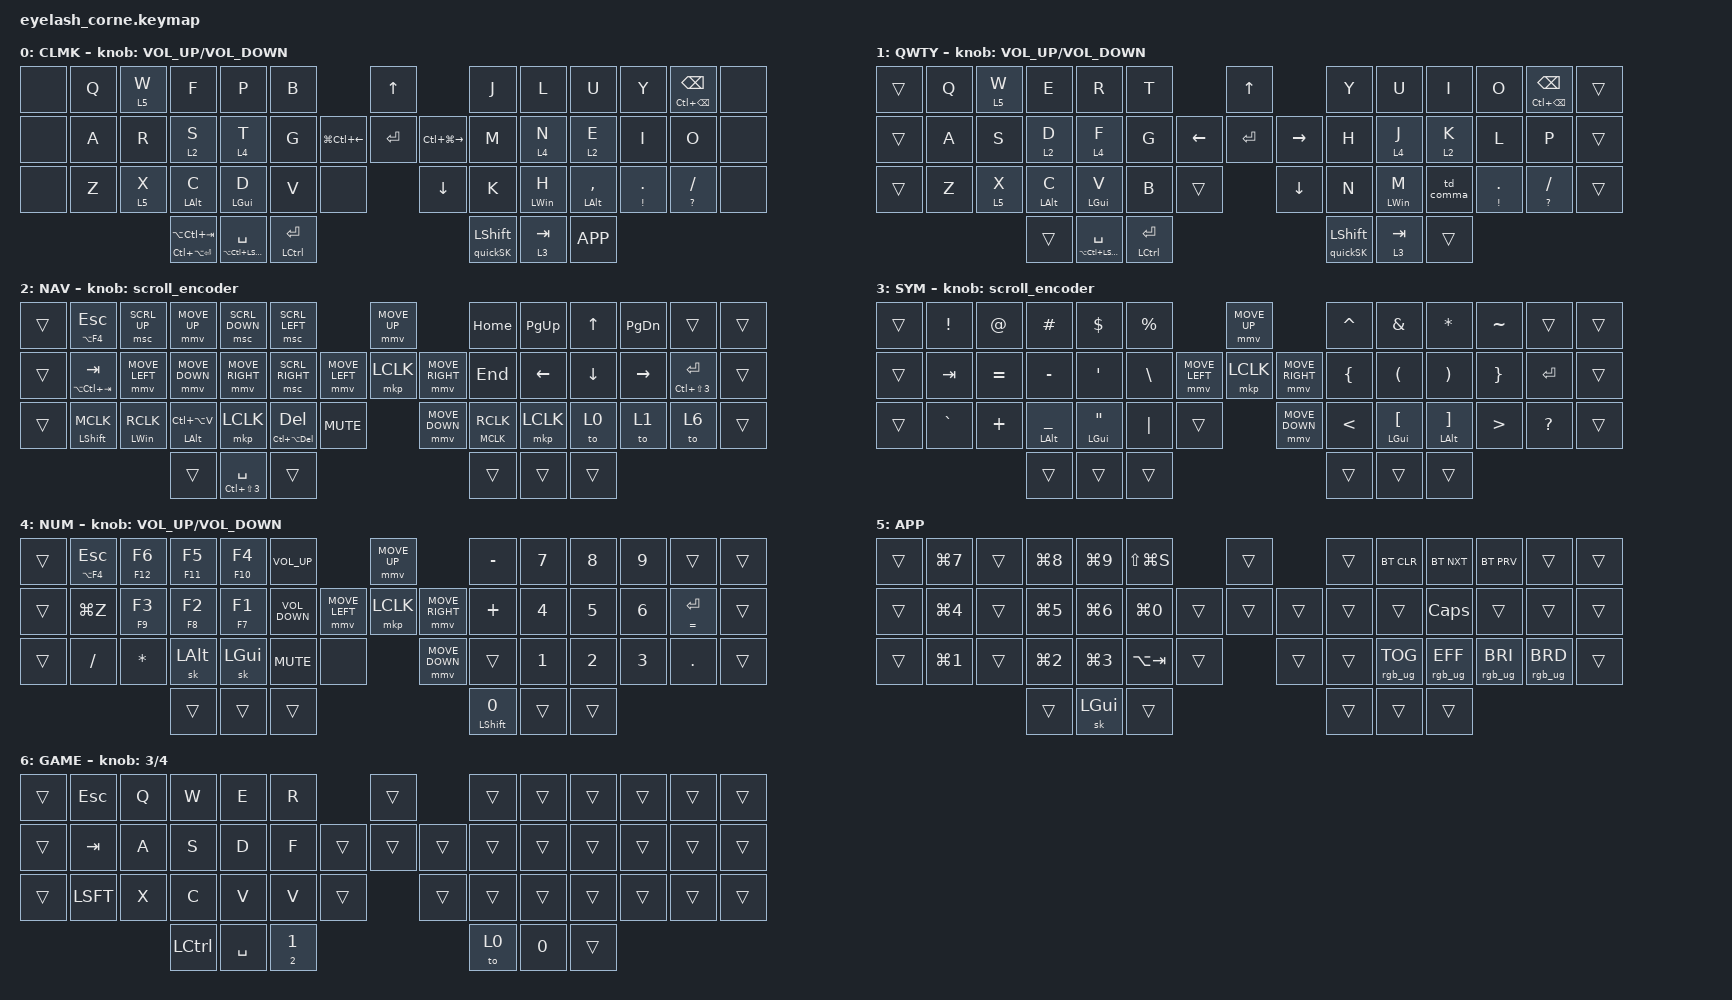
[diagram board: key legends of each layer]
#define ZMK_POINTING_DEFAULT_MOVE_VAL 1200  // 600
#define ZMK_POINTING_DEFAULT_SCRL_VAL 200   // 10

#include <input/processors.dtsi>
#include <zephyr/dt-bindings/input/input-event-codes.h>
#include <behaviors.dtsi>
#include <dt-bindings/zmk/bt.h>
#include <dt-bindings/zmk/keys.h>
#include <dt-bindings/zmk/pointing.h>
#include <dt-bindings/zmk/rgb.h>

&mmv_input_listener { input-processors = <&zip_xy_scaler 2 1>; };

&msc_input_listener { input-processors = <&zip_scroll_scaler 2 1>; };

&msc {
    acceleration-exponent = <1>;      // 0
    time-to-max-speed-ms = <100>;       // 300
    delay-ms = <0>;                   // 0
};

&mmv {
    time-to-max-speed-ms = <500>;
    acceleration-exponent = <1>;
    trigger-period-ms = <16>;
};

/ {
    behaviors {
        td0: td0 {
            compatible = "zmk,behavior-tap-dance";
            display-name = "Shift/Caps Lock Tap Dance";
            #binding-cells = <0>;
            bindings = <&kp LEFT_SHIFT>, <&kp CAPS>;
        };

        td_comma: td_comma {
            compatible = "zmk,behavior-tap-dance";
            label = "TD_COMMA";
            #binding-cells = <0>;
            bindings = <&ht LEFT_ALT COMMA>, <&kp MINUS>;

            tapping-term-ms = <220>;
        };

        ht: ht {
            compatible = "zmk,behavior-hold-tap";
            label = "HT";
            bindings = <&kp>, <&kp>;

            #binding-cells = <2>;
            flavor = "tap-preferred";
            tapping-term-ms = <220>;
        };

        LongHT: LongHT {
            compatible = "zmk,behavior-hold-tap";
            label = "LONGHT";
            bindings = <&kp>, <&kp>;

            #binding-cells = <2>;
            tapping-term-ms = <400>;
        };

        MouseHT: MouseHT {
            compatible = "zmk,behavior-hold-tap";
            label = "MOUSEHT";
            bindings = <&kp>, <&mkp>;

            #binding-cells = <2>;
            tapping-term-ms = <200>;
        };

        quickSK: quickSK {
            compatible = "zmk,behavior-sticky-key";
            label = "QUICKSK";
            bindings = <&kp>;
            #binding-cells = <1>;
            quick-release;
            release-after-ms = <1000>;
        };

        Mouse2HT: Mouse2HT {
            compatible = "zmk,behavior-hold-tap";
            label = "MOUSE2HT";
            bindings = <&mkp>, <&mkp>;

            #binding-cells = <2>;
            tapping-term-ms = <200>;
            flavor = "tap-preferred";
        };
    };

    rgb_encoder: rgb_encoder {
        compatible = "zmk,behavior-sensor-rotate";
        #sensor-binding-cells = <0>;
        bindings = <&rgb_ug RGB_BRI>, <&rgb_ug RGB_BRD>;
    };

    scroll_encoder: scroll_encoder {
        compatible = "zmk,behavior-sensor-rotate";
        #sensor-binding-cells = <0>;
        bindings = <&msc SCRL_DOWN>, <&msc SCRL_UP>;

        tap-ms = <100>;
    };

    combos {
        compatible = "zmk,combos";

        Back {
            bindings = <&kp LA(LEFT)>;
            key-positions = <2 15>;
        };

        Forward {
            bindings = <&kp LA(RIGHT)>;
            key-positions = <15 30>;
        };

        Del1 {
            bindings = <&kp DELETE>;
            key-positions = <7 8>;
        };

        Del2 {
            bindings = <&kp DELETE>;
            key-positions = <4 5>;
        };

        AltTab {
            bindings = <&kp LA(TAB)>;
            key-positions = <4 18>;
        };

        Mouse1 {
            bindings = <&mkp MB1>;
            key-positions = <26 40>;
        };

        Mouse2 {
            bindings = <&mkp MB2>;
            key-positions = <11 26>;
        };

        Mouse3 {
            bindings = <&mkp MB3>;
            key-positions = <40 39>;
        };

        SemiColon {
            bindings = <&kp SEMICOLON>;
            key-positions = <8 9>;
        };

        Colon {
            bindings = <&kp COLON>;
            key-positions = <9 10>;
        };

        Enter {
            bindings = <&kp ENTER>;
            key-positions = <18 33>;
        };

        QBALCMLinks {
            bindings = <&ALCMLinks>;
            key-positions = <1 5>;
        };

        Dash {
            bindings = <&kp MINUS>;
            key-positions = <38 39>;
        };

        AltTab2 {
            bindings = <&kp LA(LC(TAB))>;
            key-positions = <33 32>;
        };
    };

    macros {
        ALCMLinks: ALCMLinks {
            compatible = "zmk,behavior-macro";
            #binding-cells = <0>;
            bindings =
                <&kp LC(L)>,
                <&macro_wait_time 200>,
                <&kp LS(Z) &kp COLON &kp BSLH &kp LS(A) &kp LS(L) &kp LS(C) &kp LS(M) &kp SPACE &kp LS(L) &kp I &kp N &kp K &kp S>;

            label = "ALCMLINKS";
        };
    };

    keymap {
        compatible = "zmk,keymap";

        alpha1 {
            display-name = "CLMK";
            bindings = <
&none  &kp Q  &lt 5 W  &kp F                          &kp P                         &kp B                                       &kp UP                        &kp J           &kp L       &kp U               &kp Y                   &ht LC(BACKSPACE) BACKSPACE  &none
&none  &kp A  &kp R    &lt 2 S                        &lt 4 T                       &kp G                     &kp LG(LC(LEFT))  &kp ENTER  &kp LC(LG(RIGHT))  &kp M           &lt 4 N     &lt 2 E             &kp I                   &kp O                        &none
&none  &kp Z  &lt 5 X  &ht LEFT_ALT C                 &ht LEFT_GUI D                &kp V            &none                      &kp DOWN                      &kp K           &ht LWIN H  &ht LEFT_ALT COMMA  &ht EXCLAMATION PERIOD  &ht QUESTION SLASH           &none
                       &ht LC(LA(ENTER)) LA(LC(TAB))  &ht LA(LC(LEFT_SHIFT)) SPACE  &mt LCTRL ENTER                                                           &quickSK LSHFT  &lt 3 TAB   &kp K_APP
            >;

            sensor-bindings = <&inc_dec_kp C_VOLUME_UP C_VOLUME_DOWN>;
        };

        alpha2 {
            display-name = "QWTY";
            bindings = <
&trans  &kp Q  &lt 5 W  &kp E           &kp R                         &kp T                                &kp UP                &kp Y           &kp U       &kp I      &kp O                   &ht LC(BACKSPACE) BACKSPACE  &trans
&trans  &kp A  &kp S    &lt 2 D         &lt 4 F                       &kp G                      &kp LEFT  &kp ENTER  &kp RIGHT  &kp H           &lt 4 J     &lt 2 K    &kp L                   &kp P                        &trans
&trans  &kp Z  &lt 5 X  &ht LEFT_ALT C  &ht LEFT_GUI V                &kp B            &trans              &kp DOWN              &kp N           &ht LWIN M  &td_comma  &ht EXCLAMATION PERIOD  &ht QUESTION SLASH           &trans
                        &trans          &ht LA(LC(LEFT_SHIFT)) SPACE  &mt LCTRL ENTER                                            &quickSK LSHFT  &lt 3 TAB   &trans
            >;

            sensor-bindings = <&inc_dec_kp C_VOLUME_UP C_VOLUME_DOWN>;
        };

        nav {
            display-name = "NAV";
            bindings = <
&trans  &LongHT LA(F4) ESC        &msc SCRL_UP        &mmv MOVE_UP            &msc SCRL_DOWN              &msc SCRL_LEFT                                               &mmv MOVE_UP                     &kp HOME             &kp PAGE_UP  &kp UP_ARROW  &kp PAGE_DOWN  &trans                      &trans
&trans  &mt LA(LC(TAB)) TAB       &mmv MOVE_LEFT      &mmv MOVE_DOWN          &mmv MOVE_RIGHT             &msc SCRL_RIGHT                              &mmv MOVE_LEFT  &mkp LCLK       &mmv MOVE_RIGHT  &kp END              &kp LEFT     &kp DOWN      &kp RIGHT      &ht LC(LS(NUMBER_3)) ENTER  &trans
&trans  &MouseHT LEFT_SHIFT MCLK  &MouseHT LWIN RCLK  &ht LEFT_ALT LC(LA(V))  &mkp LCLK                   &LongHT LC(LA(DELETE)) DELETE  &kp C_MUTE                    &mmv MOVE_DOWN                   &Mouse2HT MCLK RCLK  &mkp LCLK    &to 0         &to 1          &to 6                       &trans
                                                      &trans                  &ht LC(LS(NUMBER_3)) SPACE  &trans                                                                                        &trans               &trans       &trans
            >;

            sensor-bindings = <&scroll_encoder>;
        };

        symbol {
            display-name = "SYM";
            bindings = <
&trans  &kp EXCL   &kp AT     &kp HASH                 &kp DLLR                    &kp PRCNT                                &mmv MOVE_UP                     &kp CARET       &kp AMPS                   &kp ASTRK                   &kp TILDE         &trans        &trans
&trans  &kp TAB    &kp EQUAL  &kp MINUS                &kp SQT                     &kp BACKSLASH            &mmv MOVE_LEFT  &mkp LCLK       &mmv MOVE_RIGHT  &kp LEFT_BRACE  &kp LEFT_PARENTHESIS       &kp RIGHT_PARENTHESIS       &kp RIGHT_BRACE   &kp ENTER     &trans
&trans  &kp GRAVE  &kp PLUS   &ht LEFT_ALT UNDERSCORE  &ht LEFT_GUI DOUBLE_QUOTES  &kp PIPE       &trans                    &mmv MOVE_DOWN                   &kp LESS_THAN   &ht LEFT_GUI LEFT_BRACKET  &ht LEFT_ALT RIGHT_BRACKET  &kp GREATER_THAN  &kp QUESTION  &trans
                              &trans                   &trans                      &trans                                                                    &trans          &trans                     &trans
            >;

            sensor-bindings = <&scroll_encoder>;
        };

        numFn {
            display-name = "NUM";
            bindings = <
&trans  &LongHT LA(F4) ESCAPE  &ht F12 F6    &ht F11 F5    &ht F10 F4    &kp C_VOLUME_UP                             &mmv MOVE_UP                     &kp MINUS          &kp N7        &kp N8        &kp N9        &trans           &trans
&trans  &kp LG(Z)              &ht F9 F3     &ht F8 F2     &ht F7 F1     &kp C_VOLUME_DOWN           &mmv MOVE_LEFT  &mkp LCLK       &mmv MOVE_RIGHT  &kp PLUS           &kp NUMBER_4  &kp N5        &kp NUMBER_6  &ht EQUAL ENTER  &trans
&trans  &kp SLASH              &kp ASTERISK  &sk LEFT_ALT  &sk LEFT_GUI  &kp C_MUTE         &none                    &mmv MOVE_DOWN                   &trans             &kp NUMBER_1  &kp NUMBER_2  &kp NUMBER_3  &kp PERIOD       &trans
                                             &trans        &trans        &trans                                                                       &ht LEFT_SHIFT N0  &trans        &trans
            >;

            sensor-bindings = <&inc_dec_kp C_VOLUME_UP C_VOLUME_DOWN>;
        };

        app {
            bindings = <
&trans  &kp LG(N7)        &trans  &kp LG(N8)        &kp LG(N9)        &kp LS(LG(S))                    &trans          &trans  &bt BT_CLR       &bt BT_NXT       &bt BT_PRV       &trans           &trans
&trans  &kp LG(NUMBER_4)  &trans  &kp LG(N5)        &kp LG(NUMBER_6)  &kp LG(N0)               &trans  &trans  &trans  &trans  &trans           &kp CAPSLOCK     &trans           &trans           &trans
&trans  &kp LG(NUMBER_1)  &trans  &kp LG(NUMBER_2)  &kp LG(NUMBER_3)  &kp LA(TAB)    &trans            &trans          &trans  &rgb_ug RGB_TOG  &rgb_ug RGB_EFF  &rgb_ug RGB_BRI  &rgb_ug RGB_BRD  &trans
                                  &trans            &sk LEFT_GUI      &trans                                           &trans  &trans           &trans
            >;

            label = "APP";
        };
     game {
            display-name = "GAME";
            bindings = <

&trans  &kp ESC   &kp Q     &kp W     &kp E     &kp R                              &trans              &trans  &trans  &trans  &trans  &trans  &trans
&trans  &kp TAB   &kp A     &kp S     &kp D     &kp F                     &trans   &trans   &trans    &trans  &trans  &trans  &trans  &trans  &trans
&trans  &kp LSFT  &kp X     &kp C     &kp V     &kp V      &trans                  &trans              &trans  &trans  &trans  &trans  &trans  &trans
                           &kp LCTRL  &kp SPACE  &ht N2 N1    &to 0   &kp 0   &trans
            >;
        
            sensor-bindings = <&inc_dec_kp N3 N4>;
        };
    };
};
